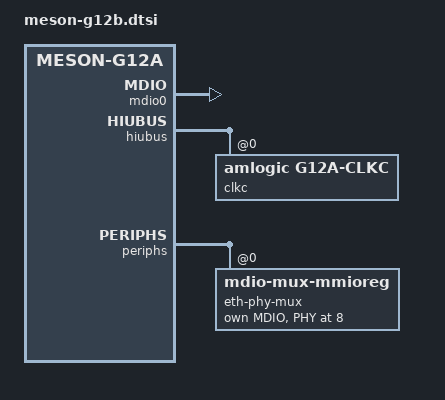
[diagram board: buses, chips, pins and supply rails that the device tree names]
/*
 * Copyright (c) 2016 Endless Computers, Inc.
 * Author: Carlo Caione <carlo@endlessm.com>
 *
 * This file is dual-licensed: you can use it either under the terms
 * of the GPL or the X11 license, at your option. Note that this dual
 * licensing only applies to this file, and not this project as a
 * whole.
 *
 *  a) This library is free software; you can redistribute it and/or
 *     modify it under the terms of the GNU General Public License as
 *     published by the Free Software Foundation; either version 2 of the
 *     License, or (at your option) any later version.
 *
 *     This library is distributed in the hope that it will be useful,
 *     but WITHOUT ANY WARRANTY; without even the implied warranty of
 *     MERCHANTABILITY or FITNESS FOR A PARTICULAR PURPOSE.  See the
 *     GNU General Public License for more details.
 *
 * Or, alternatively,
 *
 *  b) Permission is hereby granted, free of charge, to any person
 *     obtaining a copy of this software and associated documentation
 *     files (the "Software"), to deal in the Software without
 *     restriction, including without limitation the rights to use,
 *     copy, modify, merge, publish, distribute, sublicense, and/or
 *     sell copies of the Software, and to permit persons to whom the
 *     Software is furnished to do so, subject to the following
 *     conditions:
 *
 *     The above copyright notice and this permission notice shall be
 *     included in all copies or substantial portions of the Software.
 *
 *     THE SOFTWARE IS PROVIDED "AS IS", WITHOUT WARRANTY OF ANY KIND,
 *     EXPRESS OR IMPLIED, INCLUDING BUT NOT LIMITED TO THE WARRANTIES
 *     OF MERCHANTABILITY, FITNESS FOR A PARTICULAR PURPOSE AND
 *     NONINFRINGEMENT. IN NO EVENT SHALL THE AUTHORS OR COPYRIGHT
 *     HOLDERS BE LIABLE FOR ANY CLAIM, DAMAGES OR OTHER LIABILITY,
 *     WHETHER IN AN ACTION OF CONTRACT, TORT OR OTHERWISE, ARISING
 *     FROM, OUT OF OR IN CONNECTION WITH THE SOFTWARE OR THE USE OR
 *     OTHER DEALINGS IN THE SOFTWARE.
 */

#include "meson-g12.dtsi"
#include <dt-bindings/gpio/meson-g12a-gpio.h>
#include <dt-bindings/reset/amlogic,meson-gxbb-reset.h>

/ {
	compatible = "amlogic,meson-g12a";

	vpu {
		compatible = "amlogic, vpu-g12a";
		status = "okay";
		/*clocks = <&clkc CLKID_VAPB_MUX>,
		 *	<&clkc CLKID_VPU_INTR>,
		 *	<&clkc CLKID_VPU_P0_COMP>,
		 *	<&clkc CLKID_VPU_P1_COMP>,
		 *	<&clkc CLKID_VPU_MUX>;
		 *clock-names = "vapb_clk",
		 *	"vpu_intr_gate",
		 *	"vpu_clk0",
		 *	"vpu_clk1",
		 *	"vpu_clk";
		 */
		clk_level = <7>;
		/* 0: 100.0M    1: 166.7M    2: 200.0M    3: 250.0M */
		/* 4: 333.3M    5: 400.0M    6: 500.0M    7: 666.7M */
	};

	meson-fb {
		status = "okay";
		logo_addr = "0x7f800000";
	};
};

&ethmac {
	reg = <0x0 0xff3f0000 0x0 0x10000
	       0x0 0xff634540 0x0 0x8>;

	clocks = <&clkc CLKID_ETH_CORE>,
		 <&clkc CLKID_FCLK_DIV2>,
		 <&clkc CLKID_MPLL2>;
	clock-names = "stmmaceth", "clkin0", "clkin1";

	mdio0: mdio {
		#address-cells = <1>;
		#size-cells = <0>;
		compatible = "snps,dwmac-mdio";
	};
};

&aobus {
	pinctrl_aobus: pinctrl@14 {
		compatible = "amlogic,meson-g12a-aobus-pinctrl";
		#address-cells = <2>;
		#size-cells = <2>;
		ranges;

		gpio_ao: bank@14 {
			reg = <0x0 0x00014 0x0 0x8>,
			      <0x0 0x00024 0x0 0x14>,
			      <0x0 0x0001c 0x0 0x8>;
			reg-names = "mux", "gpio", "drive-strength";
			gpio-controller;
			#gpio-cells = <2>;
			gpio-ranges = <&pinctrl_aobus 0 0 16>;
		};

		sd_to_ao_uart_clr_pins:sd_to_ao_uart_clr_pins {
			mux {
				groups = "GPIOAO_0",
				   "GPIOAO_1";
				function = "gpio_aobus";
			};
		};

		sd_to_ao_uart_pins:sd_to_ao_uart_pins {
			mux {
				groups = "uart_ao_tx_a",
					   "uart_ao_rx_a";
				function = "uart_ao_a";
				bias-pull-up;
				input-enable;
			};
		};

		ao_uart_pins:ao_uart {
			mux {
				groups = "uart_ao_tx_a",
					"uart_ao_rx_a";
				function = "uart_ao_a";
			};
		};

		ao_b_uart_pins:ao_b_uart {
			mux {
				groups = "uart_ao_tx_b_2",
					"uart_ao_rx_b_3";
				function = "uart_ao_b";
			};
		};

		ao_i2c_master_pins1:ao_i2c_pins1 {
			mux {
				groups = "i2c_ao_sck",
					"i2c_ao_sda";
				function = "i2c_ao";
				drive-strength = <3>;
			};
		};

		ao_i2c_master_pins2:ao_i2c_pins2 {
			mux {
				groups = "i2c_ao_sck_e",
					"i2c_ao_sda_e";
				function = "i2c_ao";
				drive-strength = <3>;
			};
		};

		ao_i2c_slave_pins:ao_i2c_slave_pins {
			mux {
				groups = "i2c_ao_slave_sck",
					"i2c_ao_slave_sda";
				function = "i2c_ao_slave";
			};
		};

		pwm_ao_a_pins: pwm_ao_a {
			mux {
				groups = "pwm_ao_a";
				function = "pwm_ao_a";
			};
		};

		pwm_ao_a_hiz_pins: pwm_ao_a_hiz {
			mux {
				groups = "pwm_ao_a_hiz";
				function = "pwm_ao_a";
			};
		};

		pwm_ao_b_pins: pwm_ao_b {
			mux {
				groups = "pwm_ao_b";
				function = "pwm_ao_b";
			};
		};

		pwm_ao_c_pins1: pwm_ao_c_pins1 {
			mux {
				groups = "pwm_ao_c_4";
				function = "pwm_ao_c";
			};
		};

		pwm_ao_c_pins2: pwm_ao_c_pins2 {
			mux {
				groups = "pwm_ao_c_6";
				function = "pwm_ao_c";
			};
		};

		pwm_ao_c_hiz_pins: pwm_ao_c_hiz {
			mux {
				groups = "pwm_ao_c_hiz_4";
				function = "pwm_ao_c";
			};
		};

		pwm_ao_d_pins1: pwm_ao_d_pins1 {
			mux {
				groups = "pwm_ao_d_5";
				function = "pwm_ao_d";
			};
		};

		pwm_ao_d_pins2: pwm_ao_d_pins2 {
			mux {
				groups = "pwm_ao_d_10";
				function = "pwm_ao_d";
			};
		};

		pwm_ao_d_pins3: pwm_ao_d_pins3 {
			mux {
				groups = "pwm_ao_d_e";
				function = "pwm_ao_d";
			};
		};

		aocec_a: ao_ceca {
			mux {
				groups = "cec_ao_a";
				function = "cec_ao";
			};
		};

		aocec_b: ao_cecb {
			mux {
				groups = "cec_ao_b";
				function = "cec_ao";
			};
		};

	};
};

&hiubus {
	clkc: clock-controller@0 {
		compatible = "amlogic,g12a-clkc", "amlogic,gxbb-clkc";
		#clock-cells = <1>;
		reg = <0x0 0x0 0x0 0x3db>;
	};
};

&periphs {
	pinctrl_periphs: pinctrl@2C0 {
		compatible = "amlogic,meson-g12a-periphs-pinctrl";
		#address-cells = <2>;
		#size-cells = <2>;
		ranges;

		gpio: bank@2C0 {
			reg = <0x0 0x006C0 0x0 0x40>,
			      <0x0 0x004e8 0x0 0x18>,
			      <0x0 0x00520 0x0 0x18>,
			      <0x0 0x00440 0x0 0x4c>,
			      <0x0 0x00740 0x0 0x1c>;
			reg-names = "mux",
				"pull",
				"pull-enable",
				"gpio",
				"drive-strength";
			gpio-controller;
			#gpio-cells = <2>;
			gpio-ranges = <&pinctrl_periphs 0 0 86>;
		};

		/* sdemmc portC */
		emmc_clk_cmd_pins:emmc_clk_cmd_pins {
			mux {
				groups = "emmc_clk",
					 "emmc_cmd";
				function = "emmc";
				input-enable;
				bias-pull-up;
			};
		};

		emmc_conf_pull_up:emmc_conf_pull_up {
			mux {
				groups = "emmc_nand_d7",
					 "emmc_nand_d6",
					 "emmc_nand_d5",
					 "emmc_nand_d4",
					 "emmc_nand_d3",
					 "emmc_nand_d2",
					 "emmc_nand_d1",
					 "emmc_nand_d0",
					 "emmc_clk",
					 "emmc_cmd";
				function = "emmc";
				input-enable;
				bias-pull-up;
				drive-strength = <3>;
			};
		};

		emmc_conf_pull_done:emmc_conf_pull_done {
			mux {
				groups = "emmc_nand_ds";
				function = "emmc";
				input-enable;
				bias-pull-down;
			};
		};

		/* sdemmc portB */
		sd_clk_cmd_pins:sd_clk_cmd_pins {
			mux {
				groups = "sdcard_cmd_c";
				function = "sdcard";
				input-enable;
				bias-pull-up;
				drive-strength = <4>;
			};
			mux1 {
				groups = "sdcard_clk_c";
				function = "sdcard";
				bias-pull-up;
				output-high;
				drive-strength = <4>;
			};
		};

		sd_all_pins:sd_all_pins {
			mux {
				groups = "sdcard_d0_c",
					   "sdcard_d1_c",
					   "sdcard_d2_c",
					   "sdcard_d3_c",
					   "sdcard_cmd_c";
				function = "sdcard";
				input-enable;
				bias-pull-up;
				drive-strength = <4>;
			};
			mux1 {
				groups = "sdcard_clk_c";
				function = "sdcard";
				bias-pull-up;
				output-high;
				drive-strength = <4>;
			};
		};

		sd_1bit_pins:sd_1bit_pins {
			mux {
				groups = "sdcard_d0_c",
						"sdcard_cmd_c";
				function = "sdcard";
				input-enable;
				bias-pull-up;
				drive-strength = <4>;
			};
			mux1 {
				groups = "sdcard_clk_c";
				function = "sdcard";
				bias-pull-up;
				output-high;
				drive-strength = <4>;
			};
		};

		sd_clr_all_pins:sd_clr_all_pins {
			mux {
				groups = "GPIOC_0",
					   "GPIOC_1",
					   "GPIOC_2",
					   "GPIOC_3",
					   "GPIOC_5";
				function = "gpio_periphs";
				output-high;
			};
			mux1 {
				groups = "GPIOC_4";
				function = "gpio_periphs";
				output-low;
			};
		};

		sd_clr_noall_pins:sd_clr_noall_pins {
			mux {
				groups = "GPIOC_0",
					   "GPIOC_1",
					   "GPIOC_4",
					   "GPIOC_5";
				function = "gpio_periphs";
				output-high;
			};
		};

		ao_to_sd_uart_pins:ao_to_sd_uart_pins {
			mux {
				groups = "uart_ao_tx_a_c3",
						"uart_ao_rx_a_c2";
				function = "uart_ao_a_ee";
				bias-pull-up;
				input-enable;
			};
		};

		/* sdemmc portA */
		sdio_clk_cmd_pins:sdio_clk_cmd_pins {
			mux {
				groups = "sdio_clk",
					"sdio_cmd";
				function = "sdio";
				input-enable;
				bias-pull-up;
				drive-strength = <4>;
			};
		};

		sdio_all_pins:sdio_all_pins {
			mux {
				groups = "sdio_d0",
					"sdio_d1",
					"sdio_d2",
					"sdio_d3",
					"sdio_clk",
					"sdio_cmd";
				function = "sdio";
				input-enable;
				bias-pull-up;
				drive-strength = <4>;
			};
		};

		sdio_x_clk_cmd_pins:sdio_x_clk_cmd_pins {
			mux {
				groups = "GPIOX_5";
				function = "gpio_periphs";
				input-enable;
				bias-pull-up;
				drive-strength = <4>;
			};
			mux1 {
				groups = "GPIOX_4";
				function = "gpio_periphs";
				bias-pull-up;
				output-high;
				drive-strength = <4>;
			};
		};

		sdio_x_all_pins:sdio_x_all_pins {
			mux {
				groups = "GPIOX_0",
					"GPIOX_1",
					"GPIOX_2",
					"GPIOX_3",
					"GPIOX_5";
				function = "gpio_periphs";
				input-enable;
				bias-pull-up;
				drive-strength = <4>;
			};
			mux1 {
				groups = "GPIOX_4";
				function = "gpio_periphs";
				bias-pull-up;
				output-high;
				drive-strength = <4>;
			};
		};

		sdio_x_en_pins:sdio_x_en_pins {
			mux {
				groups = "sdio_dummy";
				function = "sdio";
				bias-pull-up;
				output-high;
			};
		};

		sdio_x_clr_pins:sdio_x_clr_pins {
			mux {
				groups = "GPIOV_0";
				function = "gpio_periphs";
				bias-pull-up;
				output-low;
			};
			mux1 {
				groups = "GPIOX_4";
				function = "gpio_periphs";
				output-low;
			};
		};

		all_nand_pins: all_nand_pins {
			mux {
				groups =  "emmc_nand_d0",
					"emmc_nand_d1",
					"emmc_nand_d2",
					"emmc_nand_d3",
					"emmc_nand_d4",
					"emmc_nand_d5",
					"emmc_nand_d6",
					"emmc_nand_d7",
					"nand_ce0",
					"nand_ale",
					"nand_cle",
					"nand_wen_clk",
					"nand_ren_wr",
					"nand_rb0";
				function = "nand";
				input-enable;
			};
		};

		nand_cs_pins: nand_cs {
			mux {
				groups = "nand_ce0";
				function = "nand";
			};
		};

		i2c0_master_pins1:i2c0_pins1 {
			mux {
				groups = "i2c0_sda_c",
					"i2c0_sck_c";
				function = "i2c0";
				drive-strength = <3>;
			};
		};

		i2c0_master_pins2:i2c0_pins2 {
			mux {
				groups = "i2c0_sda_z0",
					"i2c0_sck_z1";
				function = "i2c0";
				drive-strength = <3>;
			};
		};

		i2c0_master_pins3:i2c0_pins3 {
			mux {
				groups = "i2c0_sda_z7",
					"i2c0_sck_z8";
				function = "i2c0";
				drive-strength = <3>;
			};
		};

		i2c1_master_pins1:i2c1_pins1 {
			mux {
				groups = "i2c1_sda_x",
					"i2c1_sck_x";
				function = "i2c1";
				drive-strength = <3>;
			};
		};

		i2c1_master_pins2:i2c1_pins2 {
			mux {
				groups = "i2c1_sda_h2",
					"i2c1_sck_h3";
				function = "i2c1";
				drive-strength = <3>;
			};
		};

		i2c1_master_pins3:i2c1_pins3 {
			mux {
				groups = "i2c1_sda_h6",
					"i2c1_sck_h7";
				function = "i2c1";
				drive-strength = <3>;
			};
		};

		i2c2_master_pins1:i2c2_pins1 {
			mux {
				groups = "i2c2_sda_x",
					"i2c2_sck_x";
				function = "i2c2";
				drive-strength = <3>;
			};
		};

		i2c2_master_pins2:i2c2_pins2 {
			mux {
				groups = "i2c2_sda_z",
					"i2c2_sck_z";
				function = "i2c2";
				drive-strength = <3>;
			};
		};

		i2c3_master_pins1:i2c3_pins1 {
			mux {
				groups = "i2c3_sda_h",
					"i2c3_sck_h";
				function = "i2c3";
				drive-strength = <3>;
			};
		};

		i2c3_master_pins2:i2c3_pins2 {
			mux {
				groups = "i2c3_sda_a",
					"i2c3_sck_a";
				function = "i2c3";
				drive-strength = <3>;
			};
		};

		pwm_a_pins: pwm_a {
			mux {
				groups = "pwm_a";
				function = "pwm_a";
			};
		};

		pwm_b_pins1: pwm_b_pins1 {
			mux {
				groups = "pwm_b_x7";
				function = "pwm_b";
			};
		};

		pwm_b_pins2: pwm_b_pins2 {
			mux {
				groups = "pwm_b_x19";
				function = "pwm_b";
			};
		};

		pwm_c_pins1: pwm_c_pins1 {
			mux {
				groups = "pwm_c_c4";
				function = "pwm_c";
			};
		};

		pwm_c_pins2: pwm_c_pins2 {
			mux {
				groups = "pwm_c_x5";
				function = "pwm_c";
			};
		};

		pwm_c_pins3: pwm_c_pins3 {
			mux {
				groups = "pwm_c_x8";
				function = "pwm_c";
			};
		};

		pwm_d_pins1: pwm_d_pins1 {
			mux {
				groups = "pwm_d_x3";
				function = "pwm_d";
			};
		};

		pwm_d_pins2: pwm_d_pins2 {
			mux {
				groups = "pwm_d_x6";
				function = "pwm_d";
			};
		};

		pwm_e_pins: pwm_e {
			mux {
				groups = "pwm_e";
				function = "pwm_e";
			};
		};

		pwm_f_pins1: pwm_f_pins1 {
			mux {
				groups = "pwm_f_x";
				function = "pwm_f";
			};
		};

		pwm_f_pins2: pwm_f_pins2 {
			mux {
				groups = "pwm_f_h";
				function = "pwm_f";
			};
		};

		spicc0_pins_x: spicc0_pins_x {
			mux {
				groups = "spi0_mosi_x",
					 "spi0_miso_x",
					 "spi0_clk_x";
				function = "spi0";
				drive-strength = <1>;
			};
		};

		spicc0_pins_c: spicc0_pins_c {
			mux {
				groups = "spi0_mosi_c",
					 "spi0_miso_c",
					 "spi0_clk_c";
				function = "spi0";
				drive-strength = <2>;
			};
		};

		spicc1_pins: spicc1_pins {
			mux {
				groups = "spi1_mosi",
					 "spi1_miso",
					 "spi1_clk";
				function = "spi1";
				drive-strength = <2>;
			};
		};

		spifc_all_pins: spifc_all_pins {
			mux {
				groups = "nor_d",
					 "nor_q",
					 "nor_c",
					 "nor_hold",
					 "nor_wp";
				function = "nor";
				drive-strength = <2>;
			};
		};

		a_uart_pins:a_uart {
			mux {
				groups = "uart_tx_a",
					"uart_rx_a",
					"uart_cts_a",
					"uart_rts_a";
				function = "uart_a";
			};
		};

		b_uart_pins:b_uart {
			mux {
				groups = "uart_tx_b",
					"uart_rx_b";
				function = "uart_b";
			};
		};

		c_uart_pins:c_uart {
			mux {
				groups = "uart_tx_c",
					"uart_rx_c";
				function = "uart_c";
			};
		};

		hdmitx_hpd: hdmitx_hpd {
			mux {
				groups = "hdmitx_hpd_in";
				function = "hdmitx";
				bias-disable;
			};
		};

		hdmitx_hpd_gpio: hdmitx_hpd_gpio {
			mux {
				groups = "GPIOH_1";
				function = "gpio_periphs";
				bias-disable;
			};
		};

		hdmitx_ddc: hdmitx_ddc {
			mux {
				groups = "hdmitx_sda",
					"hdmitx_sck";
				function = "hdmitx";
				bias-disable;
				drive-strength = <4>;
			};
		};

		eecec_a: ee_ceca {
			mux {
				groups = "cec_ao_a_ee";
				function = "cec_ao_ee";
			};
		};

		eecec_b: ee_cecb {
			mux {
				groups = "cec_ao_b_ee";
				function = "cec_ao_ee";
			};
		};

		internal_eth_pins: internal_eth_pins {
			mux {
				groups = "eth_link_led",
					"eth_act_led";
				function = "eth";
			};
		};

		internal_gpio_pins: internal_gpio_pins {
			mux {
				groups = "GPIOZ_14",
					"GPIOZ_15";
				function = "gpio_periphs";
				bias-disable;
				input-enable;
			};
		};

		external_eth_pins: external_eth_pins {
			mux {
				groups = "eth_mdio",
				"eth_mdc",
				"eth_rgmii_rx_clk",
				"eth_rx_dv",
				"eth_rxd0",
				"eth_rxd1",
				"eth_rxd2_rgmii",
				"eth_rxd3_rgmii",
				"eth_rgmii_tx_clk",
				"eth_txen",
				"eth_txd0",
				"eth_txd1",
				"eth_txd2_rgmii",
				"eth_txd3_rgmii";
				function = "eth";
				drive-strength = <4>;
			};
		};
	};

	eth-phy-mux {
		compatible = "mdio-mux-mmioreg", "mdio-mux";
		#address-cells = <1>;
		#size-cells = <0>;
		reg = <0x0 0x15c 0x0 0x4>;
		mux-mask = <0xffffffff>;
		mdio-parent-bus = <&mdio0>;

		internal_mdio: mdio@e40908ff {
			reg = <0xe40908ff>;
			#address-cells = <1>;
			#size-cells = <0>;

			internal_phy: ethernet-phy@8 {
				compatible = "ethernet-phy-id0181.4400", "ethernet-phy-ieee802.3-c22";
				reg = <8>;
				max-speed = <100>;
			};
		};

		external_mdio: mdio@2009087f {
			reg = <0x2009087f>;
			#address-cells = <1>;
			#size-cells = <0>;
		};
	};
};

&saradc {
	compatible = "amlogic,meson-g12a-saradc", "amlogic,meson-saradc";
	clocks = <&xtal>;
	/*
		 //<&clkc CLKID_SAR_ADC>,
		 //<&clkc CLKID_SANA>,
		 //<&clkc CLKID_SAR_ADC_CLK>,
		 //<&clkc CLKID_SAR_ADC_SEL>;*/
	clock-names = "clkin";
	//"core", "sana", "adc_clk", "adc_sel";
};

&sd_emmc_a {
	clocks = <&clkc CLKID_SD_EMMC_A>,
		 <&xtal>,
		 <&clkc CLKID_FCLK_DIV2>;
	clock-names = "core", "clkin0", "clkin1";
};

&sd_emmc_b {
	clocks = <&clkc CLKID_SD_EMMC_B>,
			<&xtal>,
			<&clkc CLKID_FCLK_DIV2>,
			<&clkc CLKID_SD_EMMC_B_P0_MUX>,
			<&clkc CLKID_SD_EMMC_B_P0_DIV>,
			<&clkc CLKID_SD_EMMC_B_P0_GATE>;
	clock-names = "core", "clkin0", "clkin1", "mux", "div", "gate";
};

&sd_emmc_c {
	clocks = <&clkc CLKID_SD_EMMC_C>,
			<&xtal>,
			<&clkc CLKID_FCLK_DIV2>,
			<&clkc CLKID_SD_EMMC_C_P0_MUX>,
			<&clkc CLKID_SD_EMMC_C_P0_DIV>,
			<&clkc CLKID_SD_EMMC_C_P0_GATE>;
	clock-names = "core", "clkin0", "clkin1", "mux", "div", "gate";

};

&spicc0 {
	clocks = <&clkc CLKID_CLK81>, <&clkc CLKID_SPICC0>,
		 <&clkc CLKID_SPICC0_DIV>, <&clkc CLKID_SPICC0_GATE>;
	clock-names = "core", "core-gate", "async", "async-gate";
	assigned-clocks = <&clkc CLKID_SPICC0_MUX>, <&clkc CLKID_SPICC0_DIV>;
	assigned-clock-parents = <&clkc CLKID_FCLK_DIV2>;
	assigned-clock-rates = <0>, <200000000>;
};

&spicc1 {
	clocks = <&clkc CLKID_CLK81>, <&clkc CLKID_SPICC1>,
		 <&clkc CLKID_SPICC1_DIV>, <&clkc CLKID_SPICC1_GATE>;
	clock-names = "core", "core-gate", "async", "async-gate";
	assigned-clocks = <&clkc CLKID_SPICC1_MUX>, <&clkc CLKID_SPICC1_DIV>;
	assigned-clock-parents = <&clkc CLKID_FCLK_DIV2>;
	assigned-clock-rates = <0>, <200000000>;
};

/*
&spifc {
	clocks = <&clkc CLKID_CLK81>;
	clock-names = "core";
};
*/
